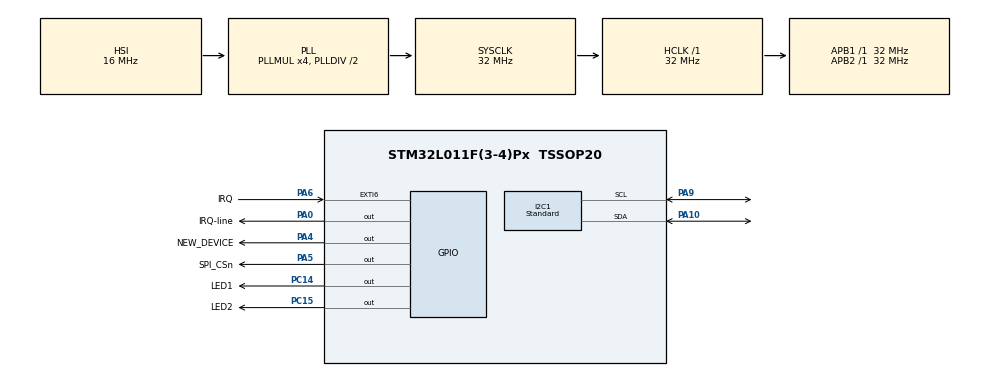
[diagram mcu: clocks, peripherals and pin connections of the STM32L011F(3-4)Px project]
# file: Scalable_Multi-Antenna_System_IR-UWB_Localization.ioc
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I2C1.GeneralCallMode=I2C_GENERALCALL_DISABLE
I2C1.I2C_Speed_Mode=I2C_Standard
I2C1.NoStretchMode=I2C_NOSTRETCH_DISABLE
I2C1.OwnAddress=0x20
I2C1.Timing=0x00707CBB
Mcu.Family=STM32L0
Mcu.Name=STM32L011F(3-4)Px
Mcu.Package=TSSOP20
NVIC.EXTI4_15_IRQn=true\:0\:0\:false\:false\:true\:true\:true
NVIC.I2C1_IRQn=true\:0\:0\:false\:false\:true\:true\:true
PA0-CK_IN.GPIO_Label=IRQ-line
PA0-CK_IN.GPIO_ModeDefaultOutputPP=GPIO_MODE_OUTPUT_OD
PA0-CK_IN.Signal=GPIO_Output
PA10.Mode=I2C
PA10.Signal=I2C1_SDA
PA13.Mode=Serial_Wire
PA13.Signal=SYS_SWDIO
PA14.Mode=Serial_Wire
PA14.Signal=SYS_SWCLK
PA2.GPIO_Label=WAKEUP
PA2.Mode=SYS_WakeUp2
PA2.Signal=SYS_WKUP3
PA4.GPIO_Label=NEW_DEVICE
PA4.GPIO_ModeDefaultOutputPP=GPIO_MODE_OUTPUT_OD
PA4.Signal=GPIO_Output
PA5.GPIO_Label=SPI_CSn
PA5.Signal=GPIO_Output
PA6.GPIO_Label=IRQ
PA6.GPIO_ModeDefaultEXTI=GPIO_MODE_IT_RISING_FALLING
PA6.Signal=GPXTI6
PA9.Mode=I2C
PA9.Signal=I2C1_SCL
PC14-OSC32_IN.GPIO_Label=LED1
PC14-OSC32_IN.Signal=GPIO_Output
PC15-OSC32_OUT.GPIO_Label=LED2
PC15-OSC32_OUT.Signal=GPIO_Output
ProjectManager.HeapSize=0x200
ProjectManager.StackSize=0x400
ProjectManager.TargetToolchain=STM32CubeIDE
RCC.AHBFreq_Value=32000000
RCC.APB1Freq_Value=32000000
RCC.APB1TimFreq_Value=32000000
RCC.APB2Freq_Value=32000000
RCC.APB2TimFreq_Value=32000000
RCC.HCLKFreq_Value=32000000
RCC.HSE_VALUE=8000000
RCC.HSI16_VALUE=16000000
RCC.HSI_VALUE=16000000
RCC.LSE_VALUE=32768
RCC.MSI_VALUE=2097000
RCC.PLLMUL=RCC_PLLMUL_4
RCC.SYSCLKFreq_VALUE=32000000
RCC.SYSCLKSource=RCC_SYSCLKSOURCE_PLLCLK
RCC.VCOOutputFreq_Value=64000000
board=custom

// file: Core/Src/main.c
/* USER CODE BEGIN Header */
/**
  ******************************************************************************
  * @file           : main.c
  * @brief          : Main program body
  ******************************************************************************
  * @attention
  *
  * <h2><center>&copy; Copyright (c) 2022 STMicroelectronics.
  * All rights reserved.</center></h2>
  *
  * This software component is licensed by ST under BSD 3-Clause license,
  * the "License"; You may not use this file except in compliance with the
  * License. You may obtain a copy of the License at:
  *                        opensource.org/licenses/BSD-3-Clause
  *
  * Author: 	Ruben Wilssens
  * Github:		https://github.com/ruben-wilssens
  * Date: 		April 2022
  *
  ******************************************************************************
  */
/* USER CODE END Header */
#include "main.h"

/* USER CODE BEGIN PD */

//#define DEVICE_MODE				0xF0 // 0xF0 = debug (LEDS), 0xF1 = debug (GPIO), 0xF2 = debug (EXTI) , 0x00 = normal operation
#define STM32_CMD_CS_HIGH		0x01
#define STM32_CMD_CS_LOW		0x02
#define STM32_CMD_NEWDEV_OK		0x03
//#define STM32_CMD_CS_STATUS		0x04
//#define STM32_CMD_IRQ_STATUS	0x05
//#define STM32_CMD_SLEEP		0x06

/* USER CODE END PD */

I2C_HandleTypeDef hi2c1;

/* USER CODE BEGIN PV */
uint8_t I2C_DATA_BUFFER[1];
//uint8_t CS_STATUS = 0xFF; //CS high (0xFF) => DW3220 SPI OFF | CS low (0x00) => DW3220 SPI ON
//uint8_t IRQ_STATUS = 0x00; //IRQ low (0x00) => no DW3220 IRQ | IRQ high (0xFF) => DW3220 IRQ
//uint8_t NEWDEV_STATUS = 0xFF; //NEWDEV high (0xFF) => board just started up and requests I2C confirmation by host
/* USER CODE END PV */

void SystemClock_Config(void);
static void MX_GPIO_Init(void);
static void MX_I2C1_Init(void);
/* USER CODE BEGIN PFP */

void HAL_GPIO_EXTI_Callback(uint16_t);
void HAL_I2C_SlaveRxCpltCallback(I2C_HandleTypeDef *);
//void HAL_I2C_MasterTxCpltCallback(I2C_HandleTypeDef*);

/* USER CODE BEGIN PFP */

/* USER CODE END PFP */

int main(void)
{

  /* MCU Configuration--------------------------------------------------------*/

  /* Reset of all peripherals, Initializes the Flash interface and the Systick. */
  HAL_Init();

  /* Configure the system clock */
  SystemClock_Config();

  /* Initialize all configured peripherals */
  MX_GPIO_Init();
  MX_I2C1_Init();
  /* USER CODE BEGIN 2 */

  // Set LEDs initial state (LED
  HAL_GPIO_WritePin(LED1_GPIO_Port, LED1_Pin, GPIO_PIN_SET); // NEWDEV LED enabled
  HAL_GPIO_WritePin(LED2_GPIO_Port, LED2_Pin, GPIO_PIN_RESET); // CS LED disabled

  // Set NEW_DEVICE line low (open drain)
  HAL_GPIO_WritePin(NEW_DEVICE_GPIO_Port, NEW_DEVICE_Pin, GPIO_PIN_RESET);

  // Enable I2C receive interrupts
  HAL_I2C_Slave_Receive_IT(&hi2c1, &I2C_DATA_BUFFER, sizeof(I2C_DATA_BUFFER));

  /* USER CODE END 2 */

  /* Infinite loop */
  /* USER CODE BEGIN WHILE */
  while (1){

//	  if(DEVICE_MODE == 0xF0){
//		  // Blink leds alternating
//		  HAL_Delay(500);
//		  HAL_GPIO_TogglePin(LED1_GPIO_Port, LED1_Pin);
//		  HAL_Delay(500);
//		  HAL_GPIO_TogglePin(LED2_GPIO_Port, LED2_Pin);
//	  }
//	  else if(DEVICE_MODE == 0xF1){
//		  // Test output GPIO's (open drain)
//		  HAL_Delay(500);
//		  HAL_GPIO_WritePin(IRQ_line_GPIO_Port, IRQ_line_Pin, GPIO_PIN_RESET);
//		  HAL_GPIO_WritePin(NEW_DEVICE_GPIO_Port, NEW_DEVICE_Pin, GPIO_PIN_SET);
//		  HAL_Delay(500);
//		  HAL_GPIO_WritePin(IRQ_line_GPIO_Port, IRQ_line_Pin, GPIO_PIN_SET);
//		  HAL_GPIO_WritePin(NEW_DEVICE_GPIO_Port, NEW_DEVICE_Pin, GPIO_PIN_RESET);
//	  }

    /* USER CODE END WHILE */

  }
}

void SystemClock_Config(void)
{
  RCC_OscInitTypeDef RCC_OscInitStruct = {0};
  RCC_ClkInitTypeDef RCC_ClkInitStruct = {0};
  RCC_PeriphCLKInitTypeDef PeriphClkInit = {0};

  /** Configure the main internal regulator output voltage
  */
  __HAL_PWR_VOLTAGESCALING_CONFIG(PWR_REGULATOR_VOLTAGE_SCALE1);
  /** Initializes the RCC Oscillators according to the specified parameters
  * in the RCC_OscInitTypeDef structure.
  */
  RCC_OscInitStruct.OscillatorType = RCC_OSCILLATORTYPE_HSI;
  RCC_OscInitStruct.HSIState = RCC_HSI_ON;
  RCC_OscInitStruct.HSICalibrationValue = RCC_HSICALIBRATION_DEFAULT;
  RCC_OscInitStruct.PLL.PLLState = RCC_PLL_ON;
  RCC_OscInitStruct.PLL.PLLSource = RCC_PLLSOURCE_HSI;
  RCC_OscInitStruct.PLL.PLLMUL = RCC_PLLMUL_4;
  RCC_OscInitStruct.PLL.PLLDIV = RCC_PLLDIV_2;
  if (HAL_RCC_OscConfig(&RCC_OscInitStruct) != HAL_OK)
  {
    Error_Handler();
  }
  /** Initializes the CPU, AHB and APB buses clocks
  */
  RCC_ClkInitStruct.ClockType = RCC_CLOCKTYPE_HCLK|RCC_CLOCKTYPE_SYSCLK
                              |RCC_CLOCKTYPE_PCLK1|RCC_CLOCKTYPE_PCLK2;
  RCC_ClkInitStruct.SYSCLKSource = RCC_SYSCLKSOURCE_PLLCLK;
  RCC_ClkInitStruct.AHBCLKDivider = RCC_SYSCLK_DIV1;
  RCC_ClkInitStruct.APB1CLKDivider = RCC_HCLK_DIV1;
  RCC_ClkInitStruct.APB2CLKDivider = RCC_HCLK_DIV1;

  if (HAL_RCC_ClockConfig(&RCC_ClkInitStruct, FLASH_LATENCY_1) != HAL_OK)
  {
    Error_Handler();
  }
  PeriphClkInit.PeriphClockSelection = RCC_PERIPHCLK_I2C1;
  PeriphClkInit.I2c1ClockSelection = RCC_I2C1CLKSOURCE_PCLK1;
  if (HAL_RCCEx_PeriphCLKConfig(&PeriphClkInit) != HAL_OK)
  {
    Error_Handler();
  }
}

static void MX_I2C1_Init(void)
{

  hi2c1.Instance = I2C1;
  hi2c1.Init.Timing = 0x00707CBB;
  hi2c1.Init.OwnAddress1 = 64;
  hi2c1.Init.AddressingMode = I2C_ADDRESSINGMODE_7BIT;
  hi2c1.Init.DualAddressMode = I2C_DUALADDRESS_DISABLE;
  hi2c1.Init.OwnAddress2 = 0;
  hi2c1.Init.OwnAddress2Masks = I2C_OA2_NOMASK;
  hi2c1.Init.GeneralCallMode = I2C_GENERALCALL_DISABLE;
  hi2c1.Init.NoStretchMode = I2C_NOSTRETCH_DISABLE;
  if (HAL_I2C_Init(&hi2c1) != HAL_OK)
  {
    Error_Handler();
  }
  /** Configure Analogue filter
  */
  if (HAL_I2CEx_ConfigAnalogFilter(&hi2c1, I2C_ANALOGFILTER_ENABLE) != HAL_OK)
  {
    Error_Handler();
  }
  /** Configure Digital filter
  */
  if (HAL_I2CEx_ConfigDigitalFilter(&hi2c1, 0) != HAL_OK)
  {
    Error_Handler();
  }

}

static void MX_GPIO_Init(void)
{
  GPIO_InitTypeDef GPIO_InitStruct = {0};

  /* GPIO Ports Clock Enable */
  __HAL_RCC_GPIOC_CLK_ENABLE();
  __HAL_RCC_GPIOA_CLK_ENABLE();

  /*Configure GPIO pin Output Level */
  HAL_GPIO_WritePin(GPIOC, LED1_Pin|LED2_Pin, GPIO_PIN_RESET);

  /*Configure GPIO pin Output Level */
  HAL_GPIO_WritePin(GPIOA, IRQ_line_Pin|NEW_DEVICE_Pin|SPI_CSn_Pin, GPIO_PIN_RESET);

  /*Configure GPIO pins : LED1_Pin LED2_Pin */
  GPIO_InitStruct.Pin = LED1_Pin|LED2_Pin;
  GPIO_InitStruct.Mode = GPIO_MODE_OUTPUT_PP;
  GPIO_InitStruct.Pull = GPIO_NOPULL;
  GPIO_InitStruct.Speed = GPIO_SPEED_FREQ_LOW;
  HAL_GPIO_Init(GPIOC, &GPIO_InitStruct);

  /*Configure GPIO pins : IRQ_line_Pin NEW_DEVICE_Pin */
  GPIO_InitStruct.Pin = IRQ_line_Pin|NEW_DEVICE_Pin;
  GPIO_InitStruct.Mode = GPIO_MODE_OUTPUT_OD;
  GPIO_InitStruct.Pull = GPIO_NOPULL;
  GPIO_InitStruct.Speed = GPIO_SPEED_FREQ_LOW;
  HAL_GPIO_Init(GPIOA, &GPIO_InitStruct);

  /*Configure GPIO pin : SPI_CSn_Pin */
  GPIO_InitStruct.Pin = SPI_CSn_Pin;
  GPIO_InitStruct.Mode = GPIO_MODE_OUTPUT_PP;
  GPIO_InitStruct.Pull = GPIO_NOPULL;
  GPIO_InitStruct.Speed = GPIO_SPEED_FREQ_LOW;
  HAL_GPIO_Init(SPI_CSn_GPIO_Port, &GPIO_InitStruct);

  /*Configure GPIO pin : IRQ_Pin */
  GPIO_InitStruct.Pin = IRQ_Pin;
  GPIO_InitStruct.Mode = GPIO_MODE_IT_RISING_FALLING;
  GPIO_InitStruct.Pull = GPIO_NOPULL;
  HAL_GPIO_Init(IRQ_GPIO_Port, &GPIO_InitStruct);

  /* EXTI interrupt init*/
  HAL_NVIC_SetPriority(EXTI4_15_IRQn, 0, 0);
  HAL_NVIC_EnableIRQ(EXTI4_15_IRQn);

}

/* USER CODE BEGIN 4 */

/* Callback external interrupts */
void HAL_GPIO_EXTI_Callback(uint16_t GPIO_Pin){
	switch(GPIO_Pin){
		case IRQ_Pin:
			if(HAL_GPIO_ReadPin(IRQ_GPIO_Port, IRQ_Pin) == GPIO_PIN_SET){
				// DW3220 generates interrupt ==> Pull down IRQ_line (open drain)
				HAL_GPIO_WritePin(IRQ_line_GPIO_Port, IRQ_line_Pin, GPIO_PIN_RESET);
			}
			else{
				// DW3220 stops interrupt ==> Release IRQ_line (open drain)
				HAL_GPIO_WritePin(IRQ_line_GPIO_Port, IRQ_line_Pin, GPIO_PIN_SET);
			}
			break;

//		case WAKEUP_Pin:
//			// Wake-up device
//			break;
	}
}

void HAL_I2C_SlaveRxCpltCallback(I2C_HandleTypeDef *hi2c){
	switch(I2C_DATA_BUFFER[0]){
		case STM32_CMD_CS_HIGH:
			// Toggle CS HIGH & disable CS LED (LED2) => DW3220 SPI DISABLED
			HAL_GPIO_WritePin(LED2_GPIO_Port, LED2_Pin,GPIO_PIN_RESET);
			HAL_GPIO_WritePin(SPI_CSn_GPIO_Port, SPI_CSn_Pin, GPIO_PIN_SET);

//			CS_STATUS = 0xFF;

			// Issue new receive interrupt
			HAL_I2C_Slave_Receive_IT(&hi2c1, &I2C_DATA_BUFFER, sizeof(I2C_DATA_BUFFER));
			break;

		case STM32_CMD_CS_LOW:
			// Toggle CS LOW & enable CS LED (LED2) => DW3220 SPI ENABLED
			HAL_GPIO_WritePin(LED2_GPIO_Port, LED2_Pin, GPIO_PIN_SET);
			HAL_GPIO_WritePin(SPI_CSn_GPIO_Port, SPI_CSn_Pin, GPIO_PIN_RESET);

//			CS_STATUS = 0x00;

			// Issue new receive interrupt
			HAL_I2C_Slave_Receive_IT(&hi2c1, &I2C_DATA_BUFFER, sizeof(I2C_DATA_BUFFER));
			break;

		case STM32_CMD_NEWDEV_OK:
			// Release NEWDEV line (open drain) & disable NEWDEV LED (LED1)=> NEWDEV confirmed by host
			HAL_GPIO_WritePin(LED1_GPIO_Port, LED1_Pin, GPIO_PIN_RESET);
			HAL_GPIO_WritePin(NEW_DEVICE_GPIO_Port, NEW_DEVICE_Pin, GPIO_PIN_SET);

//			NEWDEV_STATUS = 0x00;

			// Issue new receive interrupt
			HAL_I2C_Slave_Receive_IT(&hi2c1, &I2C_DATA_BUFFER, sizeof(I2C_DATA_BUFFER));

//		case STM32_CMD_CS_STATUS:
//			I2C_DATA_BUFFER[0] = CS_STATUS;
//			// Reply MASTER with CS_STATUS word (1 byte)
//			HAL_I2C_Slave_Transmit_IT(&hi2c1, &I2C_DATA_BUFFER, 1);
//
//			// Don't issue new receive interrupt yet!
//			break;
//
//		case STM32_CMD_IRQ_STATUS:
//			I2C_DATA_BUFFER[0] = IRQ_STATUS;
//			// Reply MASTER with IRQ_STATUS
//			HAL_I2C_Slave_Transmit_IT(&hi2c1, &I2C_DATA_BUFFER, 1);
//
//			// Don't issue new receive interrupt yet!
//			break;
//
//		case STM32_CMD_SLEEP:
//			// Sleep device
//			break;
	}
}

//void HAL_I2C_SlaveTxCpltCallback(I2C_HandleTypeDef *hi2c){
//	// Issue new receive interrupt after replying MASTER from a write
//	HAL_I2C_Slave_Receive_IT(&hi2c1, &I2C_DATA_BUFFER, sizeof(I2C_DATA_BUFFER));
//}
/*
void HAL_I2C_ErrorCallback(I2C_HandleTypeDef *hi2c) {
	if (HAL_I2C_GetError(hi2c) != HAL_I2C_ERROR_AF) {
		asm("nop");
	}
}
*/

//HAL_I2C_MasterTxCpltCallback (I2C_HandleTypeDef *hi2c)
//{
//  /* when
//   * hal_i2c_master_transmit_it (i2c_handletypedef * hi2c, uint16_t devaddress, uint8_t * pdata, uint16_t size);
//   * is called and after completion, this function will be called and executed.
//   * if you’d like to do something upon data transmission completion, then add this to your code in the application source file (main.c).
//	*/
//}

/* USER CODE END 4 */

void Error_Handler(void)
{
  __disable_irq();
  while (1)
  {
  }
}

/************************ (C) COPYRIGHT STMicroelectronics *****END OF FILE****/
